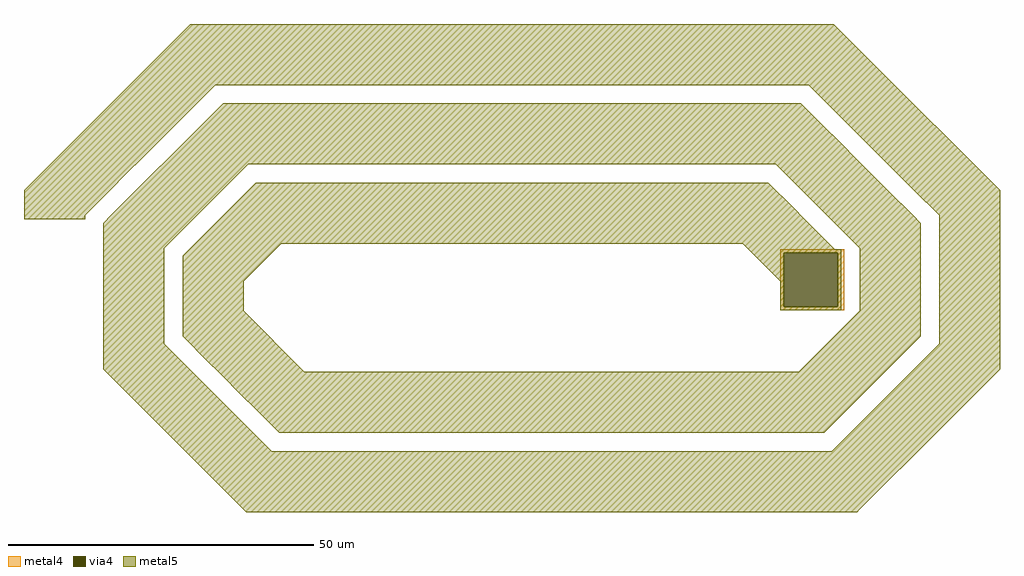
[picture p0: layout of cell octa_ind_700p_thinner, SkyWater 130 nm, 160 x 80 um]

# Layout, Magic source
magic
tech sky130B
magscale 1 2
<< metal4 >>
rect 7500 507 9600 619
rect 7500 -1269 7612 507
rect 9388 -1269 9600 507
rect 7500 -1381 9600 -1269
<< via4 >>
rect 7612 -1269 9388 507
<< metal5 >>
tri -13852 6000 -11852 8000 se
rect -11852 6000 9252 8000
tri 9252 6000 11252 8000 sw
tri -15300 4552 -13852 6000 se
rect -13852 5400 -11624 6000
tri -11624 5400 -11024 6000 nw
tri 8424 5400 9024 6000 ne
rect 9024 5400 11252 6000
rect -13852 4552 -12473 5400
tri -15528 4324 -15300 4552 se
rect -15300 4551 -12473 4552
tri -12473 4551 -11624 5400 nw
tri -11624 4551 -10775 5400 se
rect -10775 4551 8175 5400
tri 8175 4551 9024 5400 sw
tri 9024 4551 9873 5400 ne
rect 9873 4551 11252 5400
rect -15300 4324 -12700 4551
tri -12700 4324 -12473 4551 nw
tri -11851 4324 -11624 4551 se
rect -11624 4324 9024 4551
tri -17300 2552 -15528 4324 se
rect -15528 3475 -13549 4324
tri -13549 3475 -12700 4324 nw
tri -12700 3475 -11851 4324 se
rect -11851 4249 9024 4324
tri 9024 4249 9326 4551 sw
tri 9873 4249 10175 4551 ne
rect 10175 4249 11252 4551
rect -11851 3475 9326 4249
rect -15528 3247 -13777 3475
tri -13777 3247 -13549 3475 nw
tri -12928 3247 -12700 3475 se
rect -12700 3400 9326 3475
tri 9326 3400 10175 4249 sw
tri 10175 3400 11024 4249 ne
rect 11024 3400 11252 4249
tri 11252 3400 13852 6000 sw
rect -12700 3247 -10547 3400
rect -15528 2552 -14626 3247
rect -17300 2398 -14626 2552
tri -14626 2398 -13777 3247 nw
tri -13777 2398 -12928 3247 se
rect -12928 2800 -10547 3247
tri -10547 2800 -9947 3400 nw
tri 7347 2800 7947 3400 ne
rect 7947 2800 10175 3400
rect -12928 2398 -10949 2800
tri -10949 2398 -10547 2800 nw
tri -10100 2398 -9698 2800 se
rect -9698 2398 7098 2800
rect -17300 1600 -15300 2398
tri -15300 1724 -14626 2398 nw
tri -14451 1724 -13777 2398 se
rect -13777 1724 -11798 2398
tri -14700 1475 -14451 1724 se
rect -14451 1549 -11798 1724
tri -11798 1549 -10949 2398 nw
tri -10949 1549 -10100 2398 se
rect -10100 1951 7098 2398
tri 7098 1951 7947 2800 sw
tri 7947 1951 8796 2800 ne
rect 8796 2551 10175 2800
tri 10175 2551 11024 3400 sw
tri 11024 2551 11873 3400 ne
rect 11873 2552 13852 3400
tri 13852 2552 14700 3400 sw
rect 11873 2551 14700 2552
rect 8796 1951 11024 2551
rect -10100 1649 7947 1951
tri 7947 1649 8249 1951 sw
tri 8796 1649 9098 1951 ne
rect 9098 1724 11024 1951
tri 11024 1724 11851 2551 sw
tri 11873 1724 12700 2551 ne
rect 9098 1649 11851 1724
rect -10100 1549 8249 1649
rect -14451 1475 -12547 1549
rect -14700 800 -12547 1475
tri -12547 800 -11798 1549 nw
tri -11698 800 -10949 1549 se
rect -10949 800 8249 1549
tri 8249 800 9098 1649 sw
tri 9098 800 9947 1649 ne
rect 9947 1475 11851 1649
tri 11851 1475 12100 1724 sw
rect 9947 800 12100 1475
rect -14700 -3085 -12700 800
tri -12700 647 -12547 800 nw
tri -12100 398 -11698 800 se
rect -11698 398 -10100 800
rect -12100 -2237 -10100 398
tri -10100 -430 -8870 800 nw
tri 6270 -430 7500 800 ne
rect 7500 619 9098 800
tri 9098 619 9279 800 sw
tri 9947 647 10100 800 ne
rect 7500 507 9500 619
rect 7500 -1269 7612 507
rect 9388 -1269 9500 507
rect 7500 -1381 9500 -1269
tri -12700 -3085 -12100 -2485 sw
tri -12100 -3085 -11252 -2237 ne
rect -11252 -3085 -10100 -2237
rect -14700 -3314 -12100 -3085
tri -14700 -3400 -14614 -3314 ne
rect -14614 -3400 -12100 -3314
tri -12100 -3400 -11785 -3085 sw
tri -11252 -3400 -10937 -3085 ne
rect -10937 -3400 -10100 -3085
tri -10100 -3400 -8108 -1408 sw
tri 8108 -3400 10100 -1408 se
rect 10100 -2237 12100 800
rect 10100 -3085 11252 -2237
tri 11252 -3085 12100 -2237 nw
tri 12100 -3085 12700 -2485 se
rect 12700 -3085 14700 2551
rect 10100 -3400 10937 -3085
tri 10937 -3400 11252 -3085 nw
tri 11785 -3400 12100 -3085 se
rect 12100 -3314 14700 -3085
rect 12100 -3400 12700 -3314
tri -14614 -6000 -12014 -3400 ne
rect -12014 -4248 -11785 -3400
tri -11785 -4248 -10937 -3400 sw
tri -10937 -4248 -10089 -3400 ne
rect -10089 -4237 10100 -3400
tri 10100 -4237 10937 -3400 nw
tri 10948 -4237 11785 -3400 se
rect 11785 -4237 12700 -3400
rect -10089 -4248 9252 -4237
rect -12014 -4552 -10937 -4248
tri -10937 -4552 -10633 -4248 sw
tri -10089 -4552 -9785 -4248 ne
rect -9785 -4552 9252 -4248
rect -12014 -5400 -10633 -4552
tri -10633 -5400 -9785 -4552 sw
tri -9785 -5400 -8937 -4552 ne
rect -8937 -5085 9252 -4552
tri 9252 -5085 10100 -4237 nw
tri 10100 -5085 10948 -4237 se
rect 10948 -5085 12700 -4237
rect -8937 -5400 8937 -5085
tri 8937 -5400 9252 -5085 nw
tri 9785 -5400 10100 -5085 se
rect 10100 -5314 12700 -5085
tri 12700 -5314 14700 -3314 nw
rect -12014 -6000 -9785 -5400
tri -9785 -6000 -9185 -5400 sw
tri 9185 -6000 9785 -5400 se
rect 9785 -6000 10100 -5400
tri -12014 -8000 -10014 -6000 ne
rect -10014 -7914 10100 -6000
tri 10100 -7914 12700 -5314 nw
rect -10014 -8000 10014 -7914
tri 10014 -8000 10100 -7914 nw
<< end >>
